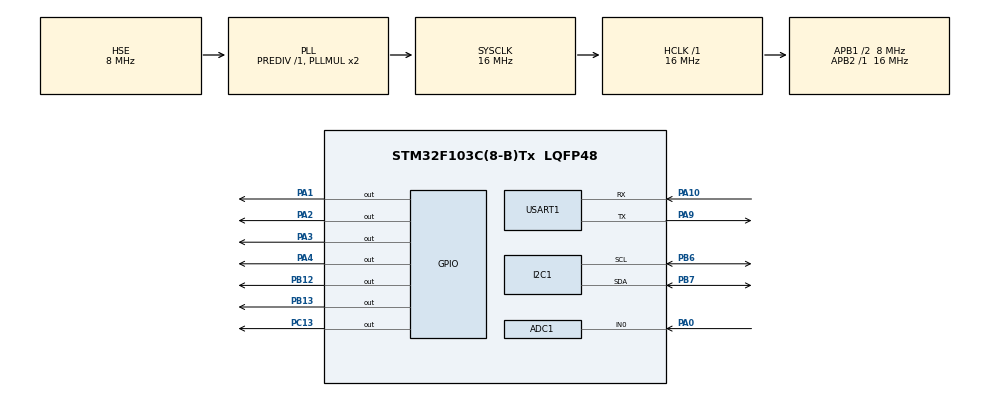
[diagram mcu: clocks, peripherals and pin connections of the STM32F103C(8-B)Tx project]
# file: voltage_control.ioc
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ADC1.Channel-0\#ChannelRegularConversion=ADC_CHANNEL_0
ADC1.NbrOfConversionFlag=1
ADC1.Rank-0\#ChannelRegularConversion=1
ADC1.SamplingTime-0\#ChannelRegularConversion=ADC_SAMPLETIME_1CYCLE_5
ADC1.master=1
I2C1.I2C_Mode=I2C_Fast
Mcu.Family=STM32F1
Mcu.Name=STM32F103C(8-B)Tx
Mcu.Package=LQFP48
NVIC.PriorityGroup=NVIC_PRIORITYGROUP_4
NVIC.USART1_IRQn=true\:0\:0\:false\:false\:true\:true\:true\:true
PA0-WKUP.Signal=ADCx_IN0
PA1.GPIO_PuPd=GPIO_NOPULL
PA1.PinState=GPIO_PIN_RESET
PA1.Signal=GPIO_Output
PA10.Mode=Asynchronous
PA10.Signal=USART1_RX
PA13.Mode=Serial_Wire
PA13.Signal=SYS_JTMS-SWDIO
PA14.Mode=Serial_Wire
PA14.Signal=SYS_JTCK-SWCLK
PA2.GPIO_PuPd=GPIO_NOPULL
PA2.PinState=GPIO_PIN_RESET
PA2.Signal=GPIO_Output
PA3.GPIO_PuPd=GPIO_NOPULL
PA3.PinState=GPIO_PIN_RESET
PA3.Signal=GPIO_Output
PA4.GPIO_PuPd=GPIO_NOPULL
PA4.PinState=GPIO_PIN_RESET
PA4.Signal=GPIO_Output
PA9.Mode=Asynchronous
PA9.Signal=USART1_TX
PB12.Signal=GPIO_Output
PB13.Signal=GPIO_Output
PB6.Mode=I2C
PB6.Signal=I2C1_SCL
PB7.Mode=I2C
PB7.Signal=I2C1_SDA
PC13-TAMPER-RTC.Signal=GPIO_Output
PD0-OSC_IN.Mode=HSE-External-Oscillator
PD0-OSC_IN.Signal=RCC_OSC_IN
PD1-OSC_OUT.Mode=HSE-External-Oscillator
PD1-OSC_OUT.Signal=RCC_OSC_OUT
ProjectManager.HeapSize=0x200
ProjectManager.StackSize=0x400
ProjectManager.TargetToolchain=MDK-ARM V5.32
RCC.AHBFreq_Value=16000000
RCC.APB1CLKDivider=RCC_HCLK_DIV2
RCC.APB1Freq_Value=8000000
RCC.APB1TimFreq_Value=16000000
RCC.APB2Freq_Value=16000000
RCC.APB2TimFreq_Value=16000000
RCC.HCLKFreq_Value=16000000
RCC.PLLSourceVirtual=RCC_PLLSOURCE_HSE
RCC.SYSCLKFreq_VALUE=16000000
RCC.SYSCLKSource=RCC_SYSCLKSOURCE_PLLCLK
RCC.USBFreq_Value=16000000
SH.ADCx_IN0.0=ADC1_IN0,IN0
USART1.VirtualMode=VM_ASYNC
board=custom

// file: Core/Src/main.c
/* USER CODE BEGIN Header */
/**
  ******************************************************************************
  * @file           : main.c
  * @brief          : Main program body
  ******************************************************************************
  * @attention
  *
  * Copyright (c) 2026 STMicroelectronics.
  * All rights reserved.
  *
  * This software is licensed under terms that can be found in the LICENSE file
  * in the root directory of this software component.
  * If no LICENSE file comes with this software, it is provided AS-IS.
  *
  ******************************************************************************
  */
/* USER CODE END Header */
#include "main.h"
#include "adc.h"
#include "i2c.h"
#include "usart.h"
#include "gpio.h"

/* USER CODE BEGIN Includes */
#include <stdio.h>
#include <string.h>
#include <stdlib.h>
#include "calibration.h" // 引入校准模块
#include "instruction.h"//引入指令模块
#include "cmd_self_test.h"
/* USER CODE END Includes */

/* USER CODE BEGIN PV */
uint32_t last_heartbeat_tick = 0; // 用于心跳灯计时的变量
// MCP4725 I2C地址 (A0接地时为0x60，HAL库需要左移一位变成0xC0)
// MCP4725 I2C 地址 (如果你用的是红色模块，通常 A0 接地，地址是 0x60)
// HAL 库需要左移一位，即 0x60 << 1 = 0xC0
#define MCP4725_ADDR (0x60 << 1)

// 参考 Adafruit_MCP4725.h 中的定义
#define MCP4725_CMD_WRITEDAC        0x40  // 写 DAC 寄存器命令
#define MCP4725_CMD_WRITEDACEEPROM  0x60  // 写 DAC 寄存器和 EEPROM 命令

// 串口接收相关变量
#define RX_BUFFER_SIZE 20
uint8_t rx_data;
uint8_t rx_buffer[RX_BUFFER_SIZE];
uint8_t rx_index = 0;
uint8_t cmd_received = 0;
/* USER CODE END PV */

void SystemClock_Config(void);

/* USER CODE BEGIN 0 */
// 移植自 Adafruit_MCP4725::setVoltage
// writeEEPROM: 1=写入EEPROM(掉电保存), 0=仅写入DAC(掉电不保存)
void MCP4725_SetVoltage(uint16_t output, uint8_t writeEEPROM) {
    uint8_t packet[3];

    // 限制范围 0-4095
    if (output > 4095) output = 4095;

    // 1. 设置命令字节
    if (writeEEPROM) {
        packet[0] = MCP4725_CMD_WRITEDACEEPROM;
    } else {
        packet[0] = MCP4725_CMD_WRITEDAC;
    }

    // 2. 计算数据字节 (完全参考 Adafruit 的位操作逻辑)
    // output / 16 等同于 output >> 4，取高8位
    packet[1] = (uint8_t)(output / 16);
    // (output % 16) << 4 等同于 (output & 0x0F) << 4，取低4位并左移
    packet[2] = (uint8_t)((output % 16) << 4);

    // 3. 发送 3 个字节
    if (HAL_I2C_Master_Transmit(&hi2c1, MCP4725_ADDR, packet, 3, 100) != HAL_OK) {
        printf("Error: I2C Transmit Failed (NACK)\r\n");
    }
}

// 串口接收回调 (保持不变)
void HAL_UART_RxCpltCallback(UART_HandleTypeDef *huart) {
    if (huart->Instance == USART1) {
        if (rx_data == '\n' || rx_data == '\r') {
            if (rx_index > 0) {
                rx_buffer[rx_index] = '\0';
                cmd_received = 1;
                rx_index = 0;
            }
        } else {
            if (rx_index < RX_BUFFER_SIZE - 1) {
                rx_buffer[rx_index++] = rx_data;
            }
        }
        HAL_UART_Receive_IT(&huart1, &rx_data, 1);
    }
}

// printf 重定向 (保持不变)
int fputc(int ch, FILE *f) {
    HAL_UART_Transmit(&huart1, (uint8_t *)&ch, 1, 100);
    return ch;
}

/* USER CODE END 0 */

int main(void)
{

  /* MCU Configuration--------------------------------------------------------*/

  /* Reset of all peripherals, Initializes the Flash interface and the Systick. */
  HAL_Init();

  /* Configure the system clock */
  SystemClock_Config();

  /* Initialize all configured peripherals */
  MX_GPIO_Init();
  MX_I2C1_Init();
  MX_USART1_UART_Init();
  MX_ADC1_Init();
  /* USER CODE BEGIN 2 */

	HAL_GPIO_WritePin(GPIOC, GPIO_PIN_13, GPIO_PIN_SET);
	printf("System Started. Please enter speed (0-100):\r\n");
	Instruction_Init(); // <--- 2. 初始化指令模块

	//////////////////是否开机自检
	uint8_t boot_self_check = 0;
if (boot_self_check) {
        SelfTest_Run(); // 调用新模块的自检函数
    }

  // 开启串口接收中断
  HAL_UART_Receive_IT(&huart1, &rx_data, 1);

  /* USER CODE END 2 */

  /* Infinite loop */
  while (1)
  {

    /* USER CODE BEGIN 3 */
	  // --- 新增：心跳灯逻辑（500ms 闪烁一次） ---
    if (HAL_GetTick() - last_heartbeat_tick >= 500) {
        HAL_GPIO_TogglePin(GPIOC, GPIO_PIN_13);
        last_heartbeat_tick = HAL_GetTick();
    }
	 // 3. 处理串口接收到的命令
	if (cmd_received) {
        cmd_received = 0;
        // 直接把接收到的字符串丢给 instruction 模块处理
        Instruction_Parse((char*)rx_buffer);
    }

    // 4. 执行指令循环（处理渐变和定时）
    Instruction_Loop();

    // 注意：不要在 while(1) 里加 HAL_Delay，这会阻塞渐变逻辑
    // Instruction_Loop 内部已经是非阻塞设计
  }

  /* USER CODE END 3 */
}

void SystemClock_Config(void)
{
  RCC_OscInitTypeDef RCC_OscInitStruct = {0};
  RCC_ClkInitTypeDef RCC_ClkInitStruct = {0};
  RCC_PeriphCLKInitTypeDef PeriphClkInit = {0};

  /** Initializes the RCC Oscillators according to the specified parameters
  * in the RCC_OscInitTypeDef structure.
  */
  RCC_OscInitStruct.OscillatorType = RCC_OSCILLATORTYPE_HSE;
  RCC_OscInitStruct.HSEState = RCC_HSE_ON;
  RCC_OscInitStruct.HSEPredivValue = RCC_HSE_PREDIV_DIV1;
  RCC_OscInitStruct.HSIState = RCC_HSI_ON;
  RCC_OscInitStruct.PLL.PLLState = RCC_PLL_ON;
  RCC_OscInitStruct.PLL.PLLSource = RCC_PLLSOURCE_HSE;
  RCC_OscInitStruct.PLL.PLLMUL = RCC_PLL_MUL2;
  if (HAL_RCC_OscConfig(&RCC_OscInitStruct) != HAL_OK)
  {
    Error_Handler();
  }

  /** Initializes the CPU, AHB and APB buses clocks
  */
  RCC_ClkInitStruct.ClockType = RCC_CLOCKTYPE_HCLK|RCC_CLOCKTYPE_SYSCLK
                              |RCC_CLOCKTYPE_PCLK1|RCC_CLOCKTYPE_PCLK2;
  RCC_ClkInitStruct.SYSCLKSource = RCC_SYSCLKSOURCE_PLLCLK;
  RCC_ClkInitStruct.AHBCLKDivider = RCC_SYSCLK_DIV1;
  RCC_ClkInitStruct.APB1CLKDivider = RCC_HCLK_DIV2;
  RCC_ClkInitStruct.APB2CLKDivider = RCC_HCLK_DIV1;

  if (HAL_RCC_ClockConfig(&RCC_ClkInitStruct, FLASH_LATENCY_0) != HAL_OK)
  {
    Error_Handler();
  }
  PeriphClkInit.PeriphClockSelection = RCC_PERIPHCLK_ADC;
  PeriphClkInit.AdcClockSelection = RCC_ADCPCLK2_DIV2;
  if (HAL_RCCEx_PeriphCLKConfig(&PeriphClkInit) != HAL_OK)
  {
    Error_Handler();
  }
}

void Error_Handler(void)
{
  __disable_irq();
  while (1)
  {
  }
}
